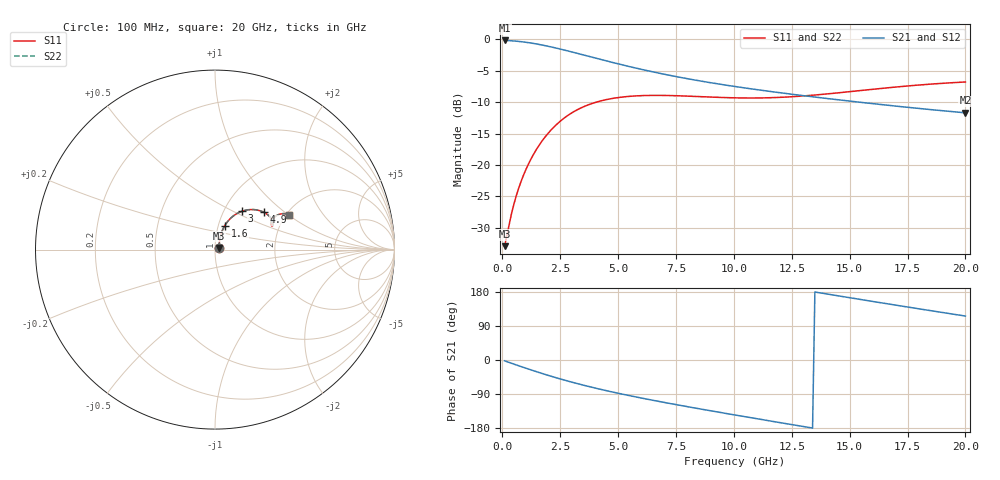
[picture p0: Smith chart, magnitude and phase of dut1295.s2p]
! Touchstone file exported from HFSS 2024.1.0
!  File:  C:/UserFiles/LocalFiles/RDL_TSV_Batchsim/temp_RDL_TSV_1295_1780280781.aedt
!  Generated:  10:41:53 AM Jun  1, 2026
!  Design:  RDL_TSV
!  Project:  temp_RDL_TSV_1295_1780280781
!  Setup:  Setup1
!  Solution:  Sweep
! Variables:
!  dtsv = 9.19um
!  hbump = 3um
!  htsv = 84.29um
!  ldown = 441.69um
!  lrdl = 533.82um
!  p = 40
!  p1 = 57.93um
!  rhole = 10um
!  subl = 3460.35um
!  t = 450um
!  tdown = 4.01um
!  trdl = 4.94um
!  viad = 10um
!  wdown = 16.38um
!  wrdl = 11.58um
!  xbump = 18um
# GHz S MA R 50.000000
! Terminal data exported
! Port[1] = TM1_1_T1
! Port[2] = TM1_4_T1
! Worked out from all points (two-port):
!   200 points, 100 MHz to 20 GHz, reference 50 ohm
!   highest |S21| = -0.19 dB at 100 MHz (marker M1); lowest = -11.7 dB at 20 GHz (marker M2)
!   |S21| within 3 dB of the highest: start of sweep to 4.231 GHz
!   lowest |S11| = -32.9 dB at 100 MHz (marker M3), VSWR 1.05, Z = 52.1 + j0.92 ohm
!   |S11| at or under -10 dB: start of sweep to 4.055 GHz
!   |S22| runs from -32.9 to -6.8 dB; largest |S21 - S12| = 2e-14
!   S11 on the Smith chart (normalised r, x): 100 MHz: 1.04, +0.02; 1.6 GHz: 1.07, +0.29; 3 GHz: 1.21, +0.55; 4.9 GHz: 1.54, +0.72; 20 GHz: 2.08, +1.02
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0.1  0.02265 22.9  0.9789 -2.2  0.9789 -2.2  0.02265 22.9
! Gamma 0 0 0 0
! Port Impedance 50 0 50 0
0.4  0.04125 55.4  0.9731 -8.7  0.9731 -8.7  0.04124 55.4
0.7  0.06478 65.2  0.9624 -15.1  0.9624 -15.1  0.06478 65.2
0.9  0.08167 67.8  0.9532 -19.2  0.9532 -19.2  0.08167 67.8
1.1  0.09922 68.8  0.9425 -23.3  0.9425 -23.3  0.09923 68.8
1.6  0.1446 67.8  0.9095 -33.3  0.9095 -33.3  0.1447 67.8
1.9  0.1718 65.8  0.8866 -39.0  0.8866 -39.0  0.1719 65.8
2.3  0.2067 62.2  0.8538 -46.4  0.8538 -46.4  0.2068 62.3
3  0.2599 55.0  0.7937 -58.4  0.7937 -58.4  0.2601 55.1
3.5  0.2903 49.9  0.7513 -66.4  0.7513 -66.4  0.2906 49.9
4.2  0.3218 43.2  0.6954 -76.8  0.6954 -76.8  0.3221 43.3
4.9  0.3419 37.5  0.6448 -86.4  0.6448 -86.4  0.3424 37.6
5.8  0.355 31.6  0.5884 -97.9  0.5884 -97.9  0.3555 31.7
6.8  0.3581 26.9  0.5362 -109.8  0.5362 -109.8  0.3587 27.0
8.4  0.3508 23.0  0.4713 -127.6  0.4713 -127.6  0.3515 23.1
10.1  0.3422 22.9  0.4199 -145.7  0.4199 -145.7  0.3428 22.9
11.7  0.3437 25.0  0.382 -162.2  0.382 -162.2  0.3443 25.0
13.4  0.3591 27.5  0.349 -179.6  0.349 -179.6  0.3596 27.5
15.1  0.385 28.9  0.321 163.4  0.321 163.4  0.3855 28.9
16.7  0.4124 28.6  0.2982 147.6  0.2982 147.6  0.4129 28.6
18.3  0.4374 27.2  0.2783 132.1  0.2783 132.1  0.4379 27.3
20  0.4576 25.1  0.2603 116.0  0.2603 116.0  0.4582 25.2
